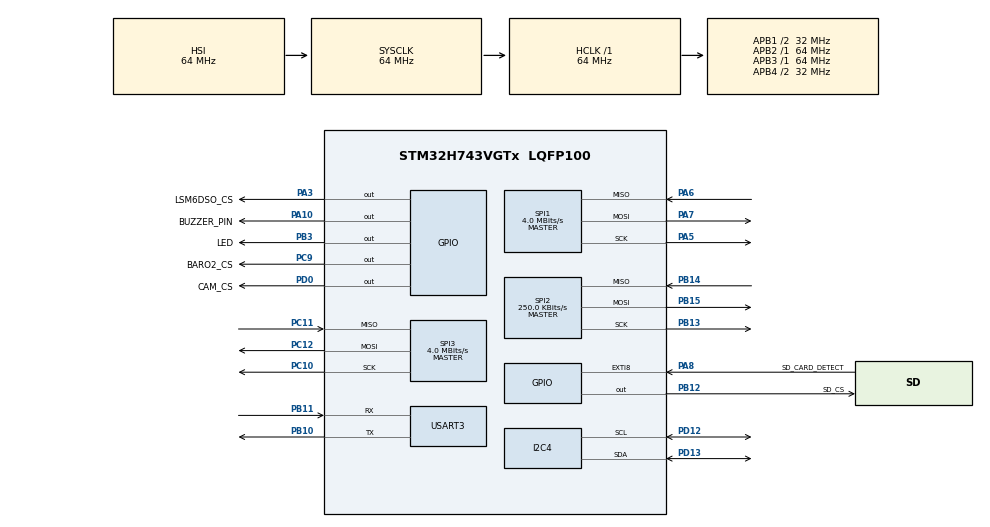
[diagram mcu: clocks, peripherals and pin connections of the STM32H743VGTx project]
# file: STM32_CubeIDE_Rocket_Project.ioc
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CORTEX_M7.default_mode_Activation=1
FATFS._MAX_SS=512
FATFS._USE_LFN=0
I2C4.Timing=0x00707CBB
Mcu.Family=STM32H7
Mcu.Name=STM32H743VGTx
Mcu.Package=LQFP100
NVIC.EXTI9_5_IRQn=true\:0\:0\:false\:false\:true\:true\:true\:true
NVIC.PriorityGroup=NVIC_PRIORITYGROUP_4
PA10.GPIO_Label=BUZZER_PIN
PA10.Signal=GPIO_Output
PA3.GPIO_Label=LSM6DSO_CS
PA3.GPIO_PuPd=GPIO_NOPULL
PA3.PinState=GPIO_PIN_SET
PA3.Signal=GPIO_Output
PA5.GPIO_PuPd=GPIO_NOPULL
PA5.Mode=Full_Duplex_Master
PA5.Signal=SPI1_SCK
PA6.GPIO_PuPd=GPIO_PULLUP
PA6.Mode=Full_Duplex_Master
PA6.Signal=SPI1_MISO
PA7.GPIO_PuPd=GPIO_PULLUP
PA7.Mode=Full_Duplex_Master
PA7.Signal=SPI1_MOSI
PA8.GPIO_Label=SD_CARD_DETECT
PA8.GPIO_ModeDefaultEXTI=GPIO_MODE_IT_RISING_FALLING
PA8.Signal=GPXTI8
PB10.Mode=Asynchronous
PB10.Signal=USART3_TX
PB11.Mode=Asynchronous
PB11.Signal=USART3_RX
PB12.GPIO_Label=SD_CS
PB12.GPIO_ModeDefaultOutputPP=GPIO_MODE_OUTPUT_PP
PB12.GPIO_PuPd=GPIO_NOPULL
PB12.PinState=GPIO_PIN_SET
PB12.Signal=GPIO_Output
PB13.GPIO_PuPd=GPIO_NOPULL
PB13.Mode=Full_Duplex_Master
PB13.Signal=SPI2_SCK
PB14.GPIO_PuPd=GPIO_PULLUP
PB14.Mode=Full_Duplex_Master
PB14.Signal=SPI2_MISO
PB15.GPIO_PuPd=GPIO_PULLUP
PB15.Mode=Full_Duplex_Master
PB15.Signal=SPI2_MOSI
PB3\ (JTDO/TRACESWO).GPIO_Label=LED
PB3\ (JTDO/TRACESWO).Signal=GPIO_Output
PC10.Mode=Full_Duplex_Master
PC10.Signal=SPI3_SCK
PC11.Mode=Full_Duplex_Master
PC11.Signal=SPI3_MISO
PC12.Mode=Full_Duplex_Master
PC12.Signal=SPI3_MOSI
PC9.GPIO_Label=BARO2_CS
PC9.PinState=GPIO_PIN_SET
PC9.Signal=GPIO_Output
PD0.GPIO_Label=CAM_CS
PD0.PinState=GPIO_PIN_SET
PD0.Signal=GPIO_Output
PD12.Mode=I2C
PD12.Signal=I2C4_SCL
PD13.Mode=I2C
PD13.Signal=I2C4_SDA
ProjectManager.HeapSize=0x400
ProjectManager.StackSize=0x800
ProjectManager.TargetToolchain=STM32CubeIDE
RCC.ADCFreq_Value=129000000
RCC.APB1Freq_Value=32000000
RCC.APB2Freq_Value=64000000
RCC.APB3Freq_Value=64000000
RCC.APB4Freq_Value=32000000
RCC.CortexFreq_Value=64000000
RCC.D2PPRE1=RCC_APB1_DIV2
RCC.D3PPRE=RCC_APB4_DIV2
RCC.DIVM1=4
RCC.DIVN1=10
RCC.HCLKFreq_Value=64000000
RCC.PLLFRACN=0
RCC.SPI123CLockSelection=RCC_SPI123CLKSOURCE_CLKP
RCC.SYSCLKFreq_VALUE=64000000
RCC.USBCLockSelection=RCC_USBCLKSOURCE_HSI48
RCC.USBFreq_Value=48000000
SPI1.BaudRatePrescaler=SPI_BAUDRATEPRESCALER_16
SPI1.CalculateBaudRate=4.0 MBits/s
SPI1.DataSize=SPI_DATASIZE_8BIT
SPI1.Direction=SPI_DIRECTION_2LINES
SPI1.Mode=SPI_MODE_MASTER
SPI1.VirtualType=VM_MASTER
SPI2.BaudRatePrescaler=SPI_BAUDRATEPRESCALER_256
SPI2.CalculateBaudRate=250.0 KBits/s
SPI2.DataSize=SPI_DATASIZE_8BIT
SPI2.Direction=SPI_DIRECTION_2LINES
SPI2.Mode=SPI_MODE_MASTER
SPI2.VirtualType=VM_MASTER
SPI3.BaudRatePrescaler=SPI_BAUDRATEPRESCALER_16
SPI3.CalculateBaudRate=4.0 MBits/s
SPI3.DataSize=SPI_DATASIZE_8BIT
SPI3.Direction=SPI_DIRECTION_2LINES
SPI3.Mode=SPI_MODE_MASTER
SPI3.VirtualType=VM_MASTER
USART3.VirtualMode-Asynchronous=VM_ASYNC
VP_FATFS_VS_Generic.Mode=User_defined
VP_MEMORYMAP_VS_MEMORYMAP.Mode=CurAppReg
board=custom

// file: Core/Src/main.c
/* USER CODE BEGIN Header */
/**
  ******************************************************************************
  * @file           : main.c
  * @brief          : Main program body
  ******************************************************************************
  * @attention
  *
  * Copyright (c) 2026 STMicroelectronics.
  * All rights reserved.
  *
  * This software is licensed under terms that can be found in the LICENSE file
  * in the root directory of this software component.
  * If no LICENSE file comes with this software, it is provided AS-IS.
  *
  ******************************************************************************
  */
/* USER CODE END Header */
#include "main.h"
#include "fatfs.h"

/* USER CODE BEGIN Includes */
#include <stdio.h>
#include <string.h>
#include <stdarg.h> //for va_list var arg functions
#include "lsm6dso32_device.h"
#include "SD_Card.h"
#include "DataLogger.h"
#include "Scheduler.h"
#include <bme680_device.h>
/* USER CODE END Includes */

I2C_HandleTypeDef hi2c4;

SPI_HandleTypeDef hspi1;
SPI_HandleTypeDef hspi2;
SPI_HandleTypeDef hspi3;

UART_HandleTypeDef huart3;

void SystemClock_Config(void);
void PeriphCommonClock_Config(void);
static void MPU_Config(void);
static void MX_GPIO_Init(void);
static void MX_SPI2_Init(void);
static void MX_USART3_UART_Init(void);
static void MX_SPI1_Init(void);
static void MX_I2C4_Init(void);
static void MX_SPI3_Init(void);
/* USER CODE BEGIN PFP */
static void LED_Task(void);
/* USER CODE END PFP */

/* USER CODE BEGIN 0 */
// Function which you can call like any other printf function and the output will come out UART3
void myprintf(const char *fmt, ...) {
  static char buffer[256];
  va_list args;
  va_start(args, fmt);
  vsnprintf(buffer, sizeof(buffer), fmt, args);
  va_end(args);

  int len = strlen(buffer);
  HAL_UART_Transmit(&huart3, (uint8_t*)buffer, len, -1);
}
/* USER CODE END 0 */

int main(void)
{

  /* MPU Configuration--------------------------------------------------------*/
  MPU_Config();

  /* MCU Configuration--------------------------------------------------------*/

  /* Reset of all peripherals, Initializes the Flash interface and the Systick. */
  HAL_Init();

  /* Configure the system clock */
  SystemClock_Config();

  /* Configure the peripherals common clocks */
  PeriphCommonClock_Config();

  /* Initialize all configured peripherals */
  MX_GPIO_Init();
  MX_SPI2_Init();
  MX_FATFS_Init();
  MX_USART3_UART_Init();
  MX_SPI1_Init();
  MX_I2C4_Init();
  MX_SPI3_Init();
  /* USER CODE BEGIN 2 */
  HAL_Delay(500);        /* Let peripherals settle after power-on */

  lsm6_init();
  bme680_init();
  SD_Init();
  DataLogger_Init();

  Scheduler_Init();
  Scheduler_RegisterTask(SD_StateMachine,              100);
  Scheduler_RegisterTask(DataLogger_StateMachine_Task,   5);
  Scheduler_RegisterTask(LED_Task,                      50);
  /* USER CODE END 2 */

  /* Infinite loop */
  while (1)
  {

    /* USER CODE BEGIN 3 */
    Scheduler_Run();
  }
  /* USER CODE END 3 */
}

void SystemClock_Config(void)
{
  RCC_OscInitTypeDef RCC_OscInitStruct = {0};
  RCC_ClkInitTypeDef RCC_ClkInitStruct = {0};

  /** Supply configuration update enable
  */
  HAL_PWREx_ConfigSupply(PWR_LDO_SUPPLY);

  /** Configure the main internal regulator output voltage
  */
  __HAL_PWR_VOLTAGESCALING_CONFIG(PWR_REGULATOR_VOLTAGE_SCALE3);

  while(!__HAL_PWR_GET_FLAG(PWR_FLAG_VOSRDY)) {}

  /** Initializes the RCC Oscillators according to the specified parameters
  * in the RCC_OscInitTypeDef structure.
  */
  RCC_OscInitStruct.OscillatorType = RCC_OSCILLATORTYPE_HSI;
  RCC_OscInitStruct.HSIState = RCC_HSI_DIV1;
  RCC_OscInitStruct.HSICalibrationValue = RCC_HSICALIBRATION_DEFAULT;
  RCC_OscInitStruct.PLL.PLLState = RCC_PLL_NONE;
  if (HAL_RCC_OscConfig(&RCC_OscInitStruct) != HAL_OK)
  {
    Error_Handler();
  }

  /** Initializes the CPU, AHB and APB buses clocks
  */
  RCC_ClkInitStruct.ClockType = RCC_CLOCKTYPE_HCLK|RCC_CLOCKTYPE_SYSCLK
                              |RCC_CLOCKTYPE_PCLK1|RCC_CLOCKTYPE_PCLK2
                              |RCC_CLOCKTYPE_D3PCLK1|RCC_CLOCKTYPE_D1PCLK1;
  RCC_ClkInitStruct.SYSCLKSource = RCC_SYSCLKSOURCE_HSI;
  RCC_ClkInitStruct.SYSCLKDivider = RCC_SYSCLK_DIV1;
  RCC_ClkInitStruct.AHBCLKDivider = RCC_HCLK_DIV1;
  RCC_ClkInitStruct.APB3CLKDivider = RCC_APB3_DIV1;
  RCC_ClkInitStruct.APB1CLKDivider = RCC_APB1_DIV2;
  RCC_ClkInitStruct.APB2CLKDivider = RCC_APB2_DIV1;
  RCC_ClkInitStruct.APB4CLKDivider = RCC_APB4_DIV2;

  if (HAL_RCC_ClockConfig(&RCC_ClkInitStruct, FLASH_LATENCY_1) != HAL_OK)
  {
    Error_Handler();
  }
}

void PeriphCommonClock_Config(void)
{
  RCC_PeriphCLKInitTypeDef PeriphClkInitStruct = {0};

  /** Initializes the peripherals clock
  */
  PeriphClkInitStruct.PeriphClockSelection = RCC_PERIPHCLK_CKPER;
  PeriphClkInitStruct.CkperClockSelection = RCC_CLKPSOURCE_HSI;
  if (HAL_RCCEx_PeriphCLKConfig(&PeriphClkInitStruct) != HAL_OK)
  {
    Error_Handler();
  }
}

static void MX_I2C4_Init(void)
{

  hi2c4.Instance = I2C4;
  hi2c4.Init.Timing = 0x00707CBB;
  hi2c4.Init.OwnAddress1 = 0;
  hi2c4.Init.AddressingMode = I2C_ADDRESSINGMODE_7BIT;
  hi2c4.Init.DualAddressMode = I2C_DUALADDRESS_DISABLE;
  hi2c4.Init.OwnAddress2 = 0;
  hi2c4.Init.OwnAddress2Masks = I2C_OA2_NOMASK;
  hi2c4.Init.GeneralCallMode = I2C_GENERALCALL_DISABLE;
  hi2c4.Init.NoStretchMode = I2C_NOSTRETCH_DISABLE;
  if (HAL_I2C_Init(&hi2c4) != HAL_OK)
  {
    Error_Handler();
  }

  /** Configure Analogue filter
  */
  if (HAL_I2CEx_ConfigAnalogFilter(&hi2c4, I2C_ANALOGFILTER_ENABLE) != HAL_OK)
  {
    Error_Handler();
  }

  /** Configure Digital filter
  */
  if (HAL_I2CEx_ConfigDigitalFilter(&hi2c4, 0) != HAL_OK)
  {
    Error_Handler();
  }

}

static void MX_SPI1_Init(void)
{

  /* SPI1 parameter configuration*/
  hspi1.Instance = SPI1;
  hspi1.Init.Mode = SPI_MODE_MASTER;
  hspi1.Init.Direction = SPI_DIRECTION_2LINES;
  hspi1.Init.DataSize = SPI_DATASIZE_8BIT;
  hspi1.Init.CLKPolarity = SPI_POLARITY_LOW;
  hspi1.Init.CLKPhase = SPI_PHASE_1EDGE;
  hspi1.Init.NSS = SPI_NSS_SOFT;
  hspi1.Init.BaudRatePrescaler = SPI_BAUDRATEPRESCALER_16;
  hspi1.Init.FirstBit = SPI_FIRSTBIT_MSB;
  hspi1.Init.TIMode = SPI_TIMODE_DISABLE;
  hspi1.Init.CRCCalculation = SPI_CRCCALCULATION_DISABLE;
  hspi1.Init.CRCPolynomial = 0x0;
  hspi1.Init.NSSPMode = SPI_NSS_PULSE_ENABLE;
  hspi1.Init.NSSPolarity = SPI_NSS_POLARITY_LOW;
  hspi1.Init.FifoThreshold = SPI_FIFO_THRESHOLD_01DATA;
  hspi1.Init.TxCRCInitializationPattern = SPI_CRC_INITIALIZATION_ALL_ZERO_PATTERN;
  hspi1.Init.RxCRCInitializationPattern = SPI_CRC_INITIALIZATION_ALL_ZERO_PATTERN;
  hspi1.Init.MasterSSIdleness = SPI_MASTER_SS_IDLENESS_00CYCLE;
  hspi1.Init.MasterInterDataIdleness = SPI_MASTER_INTERDATA_IDLENESS_00CYCLE;
  hspi1.Init.MasterReceiverAutoSusp = SPI_MASTER_RX_AUTOSUSP_DISABLE;
  hspi1.Init.MasterKeepIOState = SPI_MASTER_KEEP_IO_STATE_DISABLE;
  hspi1.Init.IOSwap = SPI_IO_SWAP_DISABLE;
  if (HAL_SPI_Init(&hspi1) != HAL_OK)
  {
    Error_Handler();
  }

}

static void MX_SPI2_Init(void)
{

  /* SPI2 parameter configuration*/
  hspi2.Instance = SPI2;
  hspi2.Init.Mode = SPI_MODE_MASTER;
  hspi2.Init.Direction = SPI_DIRECTION_2LINES;
  hspi2.Init.DataSize = SPI_DATASIZE_8BIT;
  hspi2.Init.CLKPolarity = SPI_POLARITY_LOW;
  hspi2.Init.CLKPhase = SPI_PHASE_1EDGE;
  hspi2.Init.NSS = SPI_NSS_SOFT;
  hspi2.Init.BaudRatePrescaler = SPI_BAUDRATEPRESCALER_256;
  hspi2.Init.FirstBit = SPI_FIRSTBIT_MSB;
  hspi2.Init.TIMode = SPI_TIMODE_DISABLE;
  hspi2.Init.CRCCalculation = SPI_CRCCALCULATION_DISABLE;
  hspi2.Init.CRCPolynomial = 0x0;
  hspi2.Init.NSSPMode = SPI_NSS_PULSE_ENABLE;
  hspi2.Init.NSSPolarity = SPI_NSS_POLARITY_LOW;
  hspi2.Init.FifoThreshold = SPI_FIFO_THRESHOLD_01DATA;
  hspi2.Init.TxCRCInitializationPattern = SPI_CRC_INITIALIZATION_ALL_ZERO_PATTERN;
  hspi2.Init.RxCRCInitializationPattern = SPI_CRC_INITIALIZATION_ALL_ZERO_PATTERN;
  hspi2.Init.MasterSSIdleness = SPI_MASTER_SS_IDLENESS_00CYCLE;
  hspi2.Init.MasterInterDataIdleness = SPI_MASTER_INTERDATA_IDLENESS_00CYCLE;
  hspi2.Init.MasterReceiverAutoSusp = SPI_MASTER_RX_AUTOSUSP_DISABLE;
  hspi2.Init.MasterKeepIOState = SPI_MASTER_KEEP_IO_STATE_DISABLE;
  hspi2.Init.IOSwap = SPI_IO_SWAP_DISABLE;
  if (HAL_SPI_Init(&hspi2) != HAL_OK)
  {
    Error_Handler();
  }

}

static void MX_SPI3_Init(void)
{

  /* SPI3 parameter configuration*/
  hspi3.Instance = SPI3;
  hspi3.Init.Mode = SPI_MODE_MASTER;
  hspi3.Init.Direction = SPI_DIRECTION_2LINES;
  hspi3.Init.DataSize = SPI_DATASIZE_8BIT;
  hspi3.Init.CLKPolarity = SPI_POLARITY_LOW;
  hspi3.Init.CLKPhase = SPI_PHASE_1EDGE;
  hspi3.Init.NSS = SPI_NSS_SOFT;
  hspi3.Init.BaudRatePrescaler = SPI_BAUDRATEPRESCALER_16;
  hspi3.Init.FirstBit = SPI_FIRSTBIT_MSB;
  hspi3.Init.TIMode = SPI_TIMODE_DISABLE;
  hspi3.Init.CRCCalculation = SPI_CRCCALCULATION_DISABLE;
  hspi3.Init.CRCPolynomial = 0x0;
  hspi3.Init.NSSPMode = SPI_NSS_PULSE_ENABLE;
  hspi3.Init.NSSPolarity = SPI_NSS_POLARITY_LOW;
  hspi3.Init.FifoThreshold = SPI_FIFO_THRESHOLD_01DATA;
  hspi3.Init.TxCRCInitializationPattern = SPI_CRC_INITIALIZATION_ALL_ZERO_PATTERN;
  hspi3.Init.RxCRCInitializationPattern = SPI_CRC_INITIALIZATION_ALL_ZERO_PATTERN;
  hspi3.Init.MasterSSIdleness = SPI_MASTER_SS_IDLENESS_00CYCLE;
  hspi3.Init.MasterInterDataIdleness = SPI_MASTER_INTERDATA_IDLENESS_00CYCLE;
  hspi3.Init.MasterReceiverAutoSusp = SPI_MASTER_RX_AUTOSUSP_DISABLE;
  hspi3.Init.MasterKeepIOState = SPI_MASTER_KEEP_IO_STATE_DISABLE;
  hspi3.Init.IOSwap = SPI_IO_SWAP_DISABLE;
  if (HAL_SPI_Init(&hspi3) != HAL_OK)
  {
    Error_Handler();
  }

}

static void MX_USART3_UART_Init(void)
{

  huart3.Instance = USART3;
  huart3.Init.BaudRate = 115200;
  huart3.Init.WordLength = UART_WORDLENGTH_8B;
  huart3.Init.StopBits = UART_STOPBITS_1;
  huart3.Init.Parity = UART_PARITY_NONE;
  huart3.Init.Mode = UART_MODE_TX_RX;
  huart3.Init.HwFlowCtl = UART_HWCONTROL_NONE;
  huart3.Init.OverSampling = UART_OVERSAMPLING_16;
  huart3.Init.OneBitSampling = UART_ONE_BIT_SAMPLE_DISABLE;
  huart3.Init.ClockPrescaler = UART_PRESCALER_DIV1;
  huart3.AdvancedInit.AdvFeatureInit = UART_ADVFEATURE_NO_INIT;
  if (HAL_UART_Init(&huart3) != HAL_OK)
  {
    Error_Handler();
  }
  if (HAL_UARTEx_SetTxFifoThreshold(&huart3, UART_TXFIFO_THRESHOLD_1_8) != HAL_OK)
  {
    Error_Handler();
  }
  if (HAL_UARTEx_SetRxFifoThreshold(&huart3, UART_RXFIFO_THRESHOLD_1_8) != HAL_OK)
  {
    Error_Handler();
  }
  if (HAL_UARTEx_DisableFifoMode(&huart3) != HAL_OK)
  {
    Error_Handler();
  }

}

static void MX_GPIO_Init(void)
{
  GPIO_InitTypeDef GPIO_InitStruct = {0};

  /* GPIO Ports Clock Enable */
  __HAL_RCC_GPIOA_CLK_ENABLE();
  __HAL_RCC_GPIOB_CLK_ENABLE();
  __HAL_RCC_GPIOD_CLK_ENABLE();
  __HAL_RCC_GPIOC_CLK_ENABLE();

  /*Configure GPIO pin Output Level */
  HAL_GPIO_WritePin(LSM6DSO_CS_GPIO_Port, LSM6DSO_CS_Pin, GPIO_PIN_SET);

  /*Configure GPIO pin Output Level */
  HAL_GPIO_WritePin(SD_CS_GPIO_Port, SD_CS_Pin, GPIO_PIN_SET);

  /*Configure GPIO pin Output Level */
  HAL_GPIO_WritePin(BARO2_CS_GPIO_Port, BARO2_CS_Pin, GPIO_PIN_SET);

  /*Configure GPIO pin Output Level */
  HAL_GPIO_WritePin(BUZZER_PIN_GPIO_Port, BUZZER_PIN_Pin, GPIO_PIN_RESET);

  /*Configure GPIO pin Output Level */
  HAL_GPIO_WritePin(CAM_CS_GPIO_Port, CAM_CS_Pin, GPIO_PIN_SET);

  /*Configure GPIO pin Output Level */
  HAL_GPIO_WritePin(LED_GPIO_Port, LED_Pin, GPIO_PIN_RESET);

  /*Configure GPIO pins : LSM6DSO_CS_Pin BUZZER_PIN_Pin */
  GPIO_InitStruct.Pin = LSM6DSO_CS_Pin|BUZZER_PIN_Pin;
  GPIO_InitStruct.Mode = GPIO_MODE_OUTPUT_PP;
  GPIO_InitStruct.Pull = GPIO_NOPULL;
  GPIO_InitStruct.Speed = GPIO_SPEED_FREQ_LOW;
  HAL_GPIO_Init(GPIOA, &GPIO_InitStruct);

  /*Configure GPIO pins : SD_CS_Pin LED_Pin */
  GPIO_InitStruct.Pin = SD_CS_Pin|LED_Pin;
  GPIO_InitStruct.Mode = GPIO_MODE_OUTPUT_PP;
  GPIO_InitStruct.Pull = GPIO_NOPULL;
  GPIO_InitStruct.Speed = GPIO_SPEED_FREQ_LOW;
  HAL_GPIO_Init(GPIOB, &GPIO_InitStruct);

  /*Configure GPIO pin : BARO2_CS_Pin */
  GPIO_InitStruct.Pin = BARO2_CS_Pin;
  GPIO_InitStruct.Mode = GPIO_MODE_OUTPUT_PP;
  GPIO_InitStruct.Pull = GPIO_NOPULL;
  GPIO_InitStruct.Speed = GPIO_SPEED_FREQ_LOW;
  HAL_GPIO_Init(BARO2_CS_GPIO_Port, &GPIO_InitStruct);

  /*Configure GPIO pin : SD_CARD_DETECT_Pin */
  GPIO_InitStruct.Pin = SD_CARD_DETECT_Pin;
  GPIO_InitStruct.Mode = GPIO_MODE_IT_RISING_FALLING;
  GPIO_InitStruct.Pull = GPIO_NOPULL;
  HAL_GPIO_Init(SD_CARD_DETECT_GPIO_Port, &GPIO_InitStruct);

  /*Configure GPIO pin : CAM_CS_Pin */
  GPIO_InitStruct.Pin = CAM_CS_Pin;
  GPIO_InitStruct.Mode = GPIO_MODE_OUTPUT_PP;
  GPIO_InitStruct.Pull = GPIO_NOPULL;
  GPIO_InitStruct.Speed = GPIO_SPEED_FREQ_LOW;
  HAL_GPIO_Init(CAM_CS_GPIO_Port, &GPIO_InitStruct);

  /* EXTI interrupt init*/
  HAL_NVIC_SetPriority(SD_CARD_DETECT_EXTI_IRQn, 0, 0);
  HAL_NVIC_EnableIRQ(SD_CARD_DETECT_EXTI_IRQn);

}

/* USER CODE BEGIN 4 */
/*
 * LED flash pattern task — registered with the scheduler at 50 ms.
 *
 * Flash rates depend on system state:
 *   Logging     : 250 ms on, 250 ms off (2 Hz, symmetric)
 *   Not logging : 500 ms on, 250 ms off (~1.3 Hz, asymmetric)
 *   Error_Handler() fast-blink (100 ms on/off) is handled separately...
 *   ...inside the Error_Handler() itself using a busy-wait loop.
 */
static void LED_Task(void)
{
    static uint8_t  ledIsOn        = 0;
    static uint32_t lastChangeTick = 0;

    uint32_t now = HAL_GetTick();

    /* Pick on/off durations based on whether the DataLogger is actively writing */
    uint32_t onDuration  = DataLogger_IsLogging() ? 250U : 500U;
    uint32_t offDuration = 250U;

    uint32_t phaseDuration = ledIsOn ? onDuration : offDuration;

    if ((now - lastChangeTick) >= phaseDuration) {
        ledIsOn = !ledIsOn;
        HAL_GPIO_WritePin(LED_GPIO_Port, LED_Pin,
                          ledIsOn ? GPIO_PIN_SET : GPIO_PIN_RESET);
        lastChangeTick = now;
    }
}
/* USER CODE END 4 */

 /* MPU Configuration */

void MPU_Config(void)
{
  MPU_Region_InitTypeDef MPU_InitStruct = {0};

  /* Disables the MPU */
  HAL_MPU_Disable();

  /** Initializes and configures the Region and the memory to be protected
  */
  MPU_InitStruct.Enable = MPU_REGION_ENABLE;
  MPU_InitStruct.Number = MPU_REGION_NUMBER0;
  MPU_InitStruct.BaseAddress = 0x0;
  MPU_InitStruct.Size = MPU_REGION_SIZE_4GB;
  MPU_InitStruct.SubRegionDisable = 0x87;
  MPU_InitStruct.TypeExtField = MPU_TEX_LEVEL0;
  MPU_InitStruct.AccessPermission = MPU_REGION_NO_ACCESS;
  MPU_InitStruct.DisableExec = MPU_INSTRUCTION_ACCESS_DISABLE;
  MPU_InitStruct.IsShareable = MPU_ACCESS_SHAREABLE;
  MPU_InitStruct.IsCacheable = MPU_ACCESS_NOT_CACHEABLE;
  MPU_InitStruct.IsBufferable = MPU_ACCESS_NOT_BUFFERABLE;

  HAL_MPU_ConfigRegion(&MPU_InitStruct);
  /* Enables the MPU */
  HAL_MPU_Enable(MPU_PRIVILEGED_DEFAULT);

}

void Error_Handler(void)
{
  /* USER CODE BEGIN Error_Handler_Debug */
  /* Attempt to print a message before disabling interrupts */
  //myprintf("*** FATAL: Error_Handler called — system halted ***\r\n");

  __disable_irq();

  /* Fast-blink the LED so the fault is visible on the hardware.
     HAL_Delay() requires SysTick, which is interrupt-driven and unavailable
     after __disable_irq(), so we busy-wait instead.
     At 64 MHz HSI, ~1,600,000 loop iterations is approximately 100 ms. */
  while (1)
  {
      HAL_GPIO_TogglePin(LED_GPIO_Port, LED_Pin);
      for (volatile uint32_t i = 0; i < 1600000UL; i++);
  }
  /* USER CODE END Error_Handler_Debug */
}
